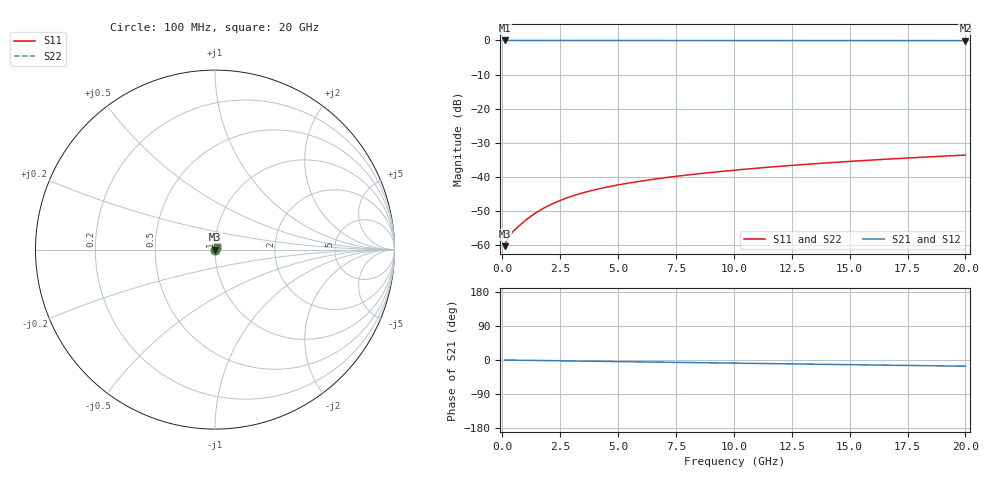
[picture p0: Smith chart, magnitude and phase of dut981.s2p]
! Touchstone file exported from HFSS 2026.1.0
!  File:  C:/ffzhzh/LocalFiles/Ansys_Project_Files/temp_train_BSMRDL_981_1783172767_55132.aedt
!  Generated:  09:47:18 PM Jul  4, 2026
!  Design:  BSMRDL
!  Project:  temp_train_BSMRDL_981_1783172767_55132
! Variables:
!  h_bsmrdl = 5.42um
!  h_ox = 20um
!  h_rdl = 5um
!  h_sub = 80um
!  h_tmrdl = 5um
!  h_tsv = 80um
!  h_via = 3um
!  l_bsmrdl = 279.91um
!  l_sub = 679.91um
!  l_tmrdl = 200um
!  m_sub = 200um
!  pitch = 33.56um
!  r_tsv = 6um
!  s_tmrdl = 10um
!  w_bsmrdl = 26.92um
!  w_sub = 500um
!  w_tmrdl = 12um
!  x_tsv_center1 = 206um
!  x_tsv_center2 = 512.83um
!  x_tsv_center3 = 724.83um
!  x_tsv_center4 = 1031.66um
!  x_tsv_center5 = 1243.66um
!  x_tsv_center6 = 1550.49um
# GHz S MA R 50.000000
! Terminal data exported
! Port[1] = BSM_RDL1_1_T1
! Port[2] = BSM_RDL1_1_T2
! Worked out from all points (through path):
!   200 points, 100 MHz to 20 GHz, reference 50 ohm
!   highest |S21| = -0.01 dB at 100 MHz (marker M1); lowest = -0.1 dB at 20 GHz (marker M2)
!   group delay of S21, straight-line fit = 2.26 ps
!   lowest |S11| = -60.2 dB at 100 MHz (marker M3), VSWR 1.00, Z = 50.1 + j0.0365 ohm
!   |S11| at or under -10 dB: start of sweep to end of sweep
!   |S22| runs from -60.2 to -33.6 dB; largest |S21 - S12| = 3.1e-15
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0.1  0.000972 22.0  0.9991 -0.1  0.9991 -0.1  0.000972 22.0
! Gamma 0 0 0 0
! Port Impedance 50 0 50 0
0.2  0.001204 29.4  0.999 -0.2  0.999 -0.2  0.001204 29.4
0.3  0.001375 33.0  0.9988 -0.3  0.9988 -0.3  0.001374 33.0
0.4  0.001511 36.2  0.9988 -0.4  0.9988 -0.4  0.001511 36.2
0.6  0.001765 42.2  0.9987 -0.5  0.9987 -0.5  0.001765 42.2
0.9  0.00217 49.4  0.9986 -0.8  0.9986 -0.8  0.00217 49.4
1.1  0.002459 52.8  0.9985 -0.9  0.9985 -0.9  0.002459 52.8
1.4  0.002909 56.3  0.9984 -1.2  0.9984 -1.2  0.002909 56.3
1.8  0.003515 59.0  0.9983 -1.5  0.9983 -1.5  0.003514 59.0
2.3  0.004256 60.6  0.998 -2.0  0.998 -2.0  0.004256 60.6
2.9  0.005102 61.3  0.9977 -2.5  0.9977 -2.5  0.005101 61.3
3.5  0.005893 61.3  0.9974 -3.0  0.9974 -3.0  0.005892 61.3
4.2  0.006752 61.1  0.9971 -3.5  0.9971 -3.5  0.006752 61.1
4.9  0.007556 60.8  0.9968 -4.1  0.9968 -4.1  0.007555 60.8
5.8  0.008527 60.4  0.9964 -4.9  0.9964 -4.9  0.008525 60.5
6.8  0.009548 60.1  0.996 -5.7  0.996 -5.7  0.009546 60.1
8.3  0.011 59.5  0.9955 -6.9  0.9955 -6.9  0.011 59.6
10.1  0.01267 58.9  0.995 -8.4  0.995 -8.4  0.01267 58.9
11.7  0.0141 58.2  0.9946 -9.7  0.9946 -9.7  0.0141 58.3
13.4  0.01558 57.5  0.9942 -11.0  0.9942 -11.0  0.01558 57.5
16.7  0.01834 55.8  0.9934 -13.7  0.9934 -13.7  0.01833 55.9
20  0.02097 54.0  0.9927 -16.4  0.9927 -16.4  0.02095 54.1
